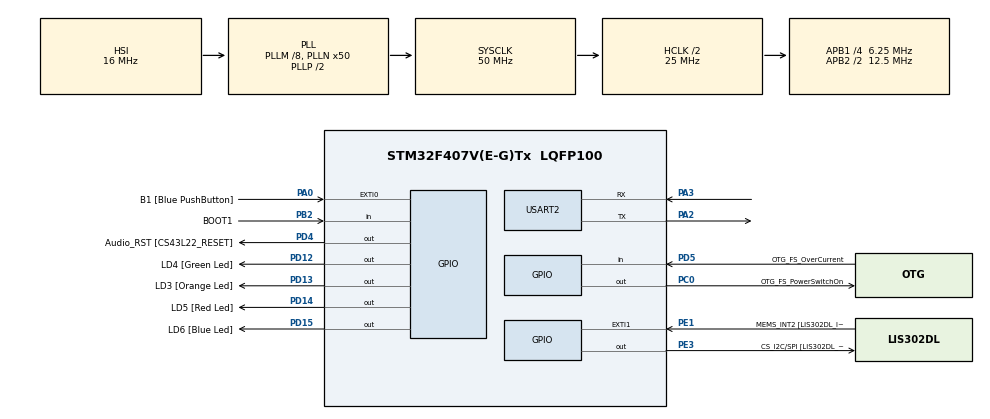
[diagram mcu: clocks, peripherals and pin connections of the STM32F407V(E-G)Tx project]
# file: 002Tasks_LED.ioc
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Mcu.Family=STM32F4
Mcu.Name=STM32F407V(E-G)Tx
Mcu.Package=LQFP100
NVIC.PriorityGroup=NVIC_PRIORITYGROUP_4
NVIC.TIM6_DAC_IRQn=true\:0\:0\:false\:false\:true\:false\:true\:true
NVIC.TimeBase=TIM6_DAC_IRQn
NVIC.TimeBaseIP=TIM6
NVIC.USART2_IRQn=true\:6\:0\:true\:false\:true\:true\:true\:true
PA0-WKUP.GPIO_Label=B1 [Blue PushButton]
PA0-WKUP.GPIO_ModeDefaultEXTI=GPIO_MODE_IT_FALLING
PA0-WKUP.Signal=GPXTI0
PA10.GPIO_Label=OTG_FS_ID
PA10.GPIO_Mode=GPIO_MODE_AF_PP
PA10.GPIO_PuPd=GPIO_NOPULL
PA10.GPIO_Speed=GPIO_SPEED_FREQ_LOW
PA10.Signal=USB_OTG_FS_ID
PA11.GPIO_Label=OTG_FS_DM
PA11.GPIO_Mode=GPIO_MODE_AF_PP
PA11.GPIO_PuPd=GPIO_NOPULL
PA11.GPIO_Speed=GPIO_SPEED_FREQ_LOW
PA11.Signal=USB_OTG_FS_DM
PA12.GPIO_Label=OTG_FS_DP
PA12.GPIO_Mode=GPIO_MODE_AF_PP
PA12.GPIO_PuPd=GPIO_NOPULL
PA12.GPIO_Speed=GPIO_SPEED_FREQ_LOW
PA12.Signal=USB_OTG_FS_DP
PA13.GPIO_Label=SWDIO
PA13.Signal=SYS_JTMS-SWDIO
PA14.GPIO_Label=SWCLK
PA14.Signal=SYS_JTCK-SWCLK
PA2.Mode=Asynchronous
PA2.Signal=USART2_TX
PA3.Mode=Asynchronous
PA3.Signal=USART2_RX
PA4.GPIO_Label=I2S3_WS [CS43L22_LRCK]
PA4.GPIO_Mode=GPIO_MODE_AF_PP
PA4.GPIO_PuPd=GPIO_NOPULL
PA4.GPIO_Speed=GPIO_SPEED_FREQ_LOW
PA4.Signal=I2S3_WS
PA5.GPIO_Label=SPI1_SCK [LIS302DL_SCL/SPC]
PA5.GPIO_Mode=GPIO_MODE_AF_PP
PA5.GPIO_PuPd=GPIO_NOPULL
PA5.GPIO_Speed=GPIO_SPEED_FREQ_LOW
PA5.Signal=SPI1_SCK
PA6.GPIO_Label=SPI1_MISO [LIS302DL_SDO]
PA6.GPIO_Mode=GPIO_MODE_AF_PP
PA6.GPIO_PuPd=GPIO_NOPULL
PA6.GPIO_Speed=GPIO_SPEED_FREQ_LOW
PA6.Signal=SPI1_MISO
PA7.GPIO_Label=SPI1_MOSI [LIS302DL_SDA/SDI/SDO]
PA7.GPIO_Mode=GPIO_MODE_AF_PP
PA7.GPIO_PuPd=GPIO_NOPULL
PA7.GPIO_Speed=GPIO_SPEED_FREQ_LOW
PA7.Signal=SPI1_MOSI
PA9.GPIO_Label=VBUS_FS
PA9.GPIO_Mode=GPIO_MODE_INPUT
PA9.GPIO_PuPd=GPIO_NOPULL
PA9.Signal=USB_OTG_FS_VBUS
PB10.GPIO_Label=CLK_IN [MP45DT02_CLK]
PB10.GPIO_Mode=GPIO_MODE_AF_PP
PB10.GPIO_PuPd=GPIO_NOPULL
PB10.GPIO_Speed=GPIO_SPEED_FREQ_LOW
PB10.Signal=I2S2_CK
PB2.GPIO_Label=BOOT1
PB2.GPIO_Mode=GPIO_MODE_INPUT
PB2.GPIO_PuPd=GPIO_NOPULL
PB2.Signal=GPIO_Input
PB3.GPIO_Label=SWO
PB3.Signal=SYS_JTDO-SWO
PB6.GPIO_Label=Audio_SCL [CS43L22_SCL]
PB6.GPIO_Mode=GPIO_MODE_AF_OD
PB6.GPIO_PuPd=GPIO_NOPULL
PB6.GPIO_Speed=GPIO_SPEED_FREQ_LOW
PB6.Signal=I2C1_SCL
PB9.GPIO_Label=Audio_SDA [CS43L22_SDA]
PB9.GPIO_Mode=GPIO_MODE_AF_OD
PB9.GPIO_PuPd=GPIO_NOPULL
PB9.GPIO_Speed=GPIO_SPEED_FREQ_LOW
PB9.Signal=I2C1_SDA
PC0.GPIO_Label=OTG_FS_PowerSwitchOn
PC0.GPIO_PuPd=GPIO_NOPULL
PC0.GPIO_Speed=GPIO_SPEED_FREQ_LOW
PC0.PinState=GPIO_PIN_SET
PC0.Signal=GPIO_Output
PC10.GPIO_Label=I2S3_SCK [CS43L22_SCLK]
PC10.GPIO_Mode=GPIO_MODE_AF_PP
PC10.GPIO_PuPd=GPIO_NOPULL
PC10.GPIO_Speed=GPIO_SPEED_FREQ_LOW
PC10.Signal=I2S3_CK
PC12.GPIO_Label=I2S3_SD [CS43L22_SDIN]
PC12.GPIO_Mode=GPIO_MODE_AF_PP
PC12.GPIO_PuPd=GPIO_NOPULL
PC12.GPIO_Speed=GPIO_SPEED_FREQ_LOW
PC12.Signal=I2S3_SD
PC14-OSC32_IN.GPIO_Label=PC14-OSC32_IN
PC14-OSC32_IN.Signal=RCC_OSC32_IN
PC15-OSC32_OUT.GPIO_Label=PC15-OSC32_OUT
PC15-OSC32_OUT.Signal=RCC_OSC32_OUT
PC3.GPIO_Label=PDM_OUT [MP45DT02_DOUT]
PC3.GPIO_Mode=GPIO_MODE_AF_PP
PC3.GPIO_PuPd=GPIO_NOPULL
PC3.GPIO_Speed=GPIO_SPEED_FREQ_LOW
PC3.Signal=I2S2_SD
PC7.GPIO_Label=I2S3_MCK [CS43L22_MCLK]
PC7.GPIO_Mode=GPIO_MODE_AF_PP
PC7.GPIO_PuPd=GPIO_NOPULL
PC7.GPIO_Speed=GPIO_SPEED_FREQ_LOW
PC7.Signal=I2S3_MCK
PD12.GPIO_Label=LD4 [Green Led]
PD12.GPIO_PuPd=GPIO_NOPULL
PD12.GPIO_Speed=GPIO_SPEED_FREQ_LOW
PD12.Signal=GPIO_Output
PD13.GPIO_Label=LD3 [Orange Led]
PD13.GPIO_PuPd=GPIO_NOPULL
PD13.GPIO_Speed=GPIO_SPEED_FREQ_LOW
PD13.Signal=GPIO_Output
PD14.GPIO_Label=LD5 [Red Led]
PD14.GPIO_PuPd=GPIO_NOPULL
PD14.GPIO_Speed=GPIO_SPEED_FREQ_LOW
PD14.Signal=GPIO_Output
PD15.GPIO_Label=LD6 [Blue Led]
PD15.GPIO_PuPd=GPIO_NOPULL
PD15.GPIO_Speed=GPIO_SPEED_FREQ_LOW
PD15.Signal=GPIO_Output
PD4.GPIO_Label=Audio_RST [CS43L22_RESET]
PD4.GPIO_PuPd=GPIO_NOPULL
PD4.GPIO_Speed=GPIO_SPEED_FREQ_LOW
PD4.Signal=GPIO_Output
PD5.GPIO_Label=OTG_FS_OverCurrent
PD5.GPIO_Mode=GPIO_MODE_INPUT
PD5.GPIO_PuPd=GPIO_NOPULL
PD5.Signal=GPIO_Input
PE1.GPIO_Label=MEMS_INT2 [LIS302DL_INT2]
PE1.GPIO_ModeDefaultEXTI=GPIO_MODE_EVT_RISING
PE1.GPIO_PuPd=GPIO_NOPULL
PE1.Signal=GPXTI1
PE3.GPIO_Label=CS_I2C/SPI [LIS302DL_CS_I2C/SPI]
PE3.GPIO_PuPd=GPIO_NOPULL
PE3.GPIO_Speed=GPIO_SPEED_FREQ_LOW
PE3.Signal=GPIO_Output
PH0-OSC_IN.GPIO_Label=PH0-OSC_IN
PH0-OSC_IN.Signal=RCC_OSC_IN
PH1-OSC_OUT.GPIO_Label=PH1-OSC_OUT
PH1-OSC_OUT.Signal=RCC_OSC_OUT
ProjectManager.HeapSize=0x200
ProjectManager.StackSize=0x400
ProjectManager.TargetToolchain=STM32CubeIDE
RCC.48MHZClocksFreq_Value=14285714.285714285
RCC.AHBCLKDivider=RCC_SYSCLK_DIV2
RCC.AHBFreq_Value=25000000
RCC.APB1CLKDivider=RCC_HCLK_DIV4
RCC.APB1Freq_Value=6250000
RCC.APB1TimFreq_Value=12500000
RCC.APB2CLKDivider=RCC_HCLK_DIV2
RCC.APB2Freq_Value=12500000
RCC.APB2TimFreq_Value=25000000
RCC.CortexFreq_Value=25000000
RCC.HCLKFreq_Value=25000000
RCC.HSE_VALUE=8000000
RCC.HSI_VALUE=16000000
RCC.LSE_VALUE=32768
RCC.PLLM=8
RCC.PLLN=50
RCC.PLLQ=7
RCC.SYSCLKFreq_VALUE=50000000
RCC.SYSCLKSource=RCC_SYSCLKSOURCE_PLLCLK
RCC.VCOOutputFreq_Value=100000000
RTC.HourFormat=RTC_HOURFORMAT_12
USART2.VirtualMode=VM_ASYNC
VP_RTC_VS_RTC_Activate.Mode=RTC_Enabled
VP_SYS_VS_tim6.Mode=TIM6
board=STM32F407G-DISC1

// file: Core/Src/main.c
/* USER CODE BEGIN Header */
/**
  ******************************************************************************
  * @file           : main.c
  * @brief          : Main program body
  ******************************************************************************
  * @attention
  *
  * Copyright (c) 2024 STMicroelectronics.
  * All rights reserved.
  *
  * This software is licensed under terms that can be found in the LICENSE file
  * in the root directory of this software component.
  * If no LICENSE file comes with this software, it is provided AS-IS.
  *
  ******************************************************************************
  */
/* USER CODE END Header */
#include "main.h"

/* USER CODE BEGIN Includes */
#include "FreeRTOS.h"
#include "task.h"
#include "queue.h"
#include "semphr.h"
#include "stdlib.h"
#include "string.h"
#include<stdio.h>
#include<stdint.h>
/* USER CODE END Includes */

UART_HandleTypeDef huart2;
RTC_HandleTypeDef hrtc;

/* USER CODE BEGIN PV */
#define DWT_CTRL ( *(volatile uint32_t*)0XE0001000 )

/* USER CODE END PV */

void SystemClock_Config(void);
static void MX_GPIO_Init(void);
static void MX_RTC_Init(void);
static void MX_USART2_UART_Init(void);
/* USER CODE BEGIN PFP */
void vHandlerTask(void* param);
void vPeriodicTask(void*param);

/* USER CODE END PFP */

/* USER CODE BEGIN 0 */
char usr_msg[250] = {0};
TaskHandle_t xTaskHandleH;
TaskHandle_t xTaskHandleP;
xSemaphoreHandle xCountingSemaphore;

#if 0
TaskHandle_t task1_handle;
TaskHandle_t task2_handle;
TaskHandle_t task3_handle;
#endif

#if 0
TaskHandle_t btntask_handle;
TaskHandle_t volatile nexttask_handle = NULL;
volatile BaseType_t status_button = 0;
#endif

//extern void SEGGER_UART_init(uint32_t);
#if 0
static void led_green_handler(void* parameters);
static void led_orange_handler(void* parameters);
static void led_red_handler(void* parameters);
#endif

void vApplicationIdleHook( void );

//static void button_handler(void* parameters);
//void button_int_handler();
//void switch_priority(void);

/* USER CODE END 0 */

int main(void)
{

  /* MCU Configuration--------------------------------------------------------*/

  /* Reset of all peripherals, Initializes the Flash interface and the Systick. */
  HAL_Init();

  /* Configure the system clock */
  SystemClock_Config();

  /* Initialize all configured peripherals */
  MX_GPIO_Init();
  MX_RTC_Init();
  MX_USART2_UART_Init();
  /* USER CODE BEGIN 2 */

   // SEGGER_UART_init(500000);

	DWT_CTRL |= (1 << 0);

	//SEGGER_SYSVIEW_Conf();

	sprintf(usr_msg, "Demo of usage of counting semaphore\r\n");
	HAL_UART_Transmit(&huart2, (uint8_t*)usr_msg, strlen(usr_msg), HAL_MAX_DELAY);

	xCountingSemaphore = xSemaphoreCreateCounting(10,0);

	if(xCountingSemaphore != NULL)
	{
		NVIC_SetPriority( EXTI15_10_IRQn, configLIBRARY_MAX_SYSCALL_INTERRUPT_PRIORITY );

		/* Enable the interrupt. */
		NVIC_EnableIRQ( EXTI15_10_IRQn );

		xTaskCreate(vPeriodicTask, "Periodic Task", 500, NULL, 3, NULL);

		xTaskCreate(vHandlerTask, "Handler Task", 500, NULL, 1, NULL);

		//start the scheduler
		vTaskStartScheduler();

	}

#if 0
	status = xTaskCreate(led_red_handler, "LED_Rtask", 200, NULL, 2,&task1_handle);
	configASSERT(status == pdPASS);

	nexttask_handle = task1_handle;

	status = xTaskCreate(led_green_handler, "LED_Gtask", 200, NULL, 3,&task2_handle);
	configASSERT(status == pdPASS);

	status = xTaskCreate(led_orange_handler, "LED_Otask", 200, NULL, 1,&task3_handle);
	configASSERT(status == pdPASS);
# endif

//===============================================================================================

#if 0

	status = xTaskCreate(button_handler, "LED_Button_task", 200, NULL, 4,&btntask_handle);
	configASSERT(status == pdPASS);
#endif

	//create software timers

  /* USER CODE END 2 */

  /* Infinite loop */
	while (1) {

	}
}

void SystemClock_Config(void)
{
  RCC_OscInitTypeDef RCC_OscInitStruct = {0};
  RCC_ClkInitTypeDef RCC_ClkInitStruct = {0};

  /** Configure the main internal regulator output voltage
  */
  __HAL_RCC_PWR_CLK_ENABLE();
  __HAL_PWR_VOLTAGESCALING_CONFIG(PWR_REGULATOR_VOLTAGE_SCALE1);

  /** Initializes the RCC Oscillators according to the specified parameters
  * in the RCC_OscInitTypeDef structure.
  */
  RCC_OscInitStruct.OscillatorType = RCC_OSCILLATORTYPE_HSI|RCC_OSCILLATORTYPE_LSI;
  RCC_OscInitStruct.HSIState = RCC_HSI_ON;
  RCC_OscInitStruct.HSICalibrationValue = RCC_HSICALIBRATION_DEFAULT;
  RCC_OscInitStruct.LSIState = RCC_LSI_ON;
  RCC_OscInitStruct.PLL.PLLState = RCC_PLL_ON;
  RCC_OscInitStruct.PLL.PLLSource = RCC_PLLSOURCE_HSI;
  RCC_OscInitStruct.PLL.PLLM = 8;
  RCC_OscInitStruct.PLL.PLLN = 50;
  RCC_OscInitStruct.PLL.PLLP = RCC_PLLP_DIV2;
  RCC_OscInitStruct.PLL.PLLQ = 7;
  if (HAL_RCC_OscConfig(&RCC_OscInitStruct) != HAL_OK)
  {
    Error_Handler();
  }

  /** Initializes the CPU, AHB and APB buses clocks
  */
  RCC_ClkInitStruct.ClockType = RCC_CLOCKTYPE_HCLK|RCC_CLOCKTYPE_SYSCLK
                              |RCC_CLOCKTYPE_PCLK1|RCC_CLOCKTYPE_PCLK2;
  RCC_ClkInitStruct.SYSCLKSource = RCC_SYSCLKSOURCE_PLLCLK;
  RCC_ClkInitStruct.AHBCLKDivider = RCC_SYSCLK_DIV2;
  RCC_ClkInitStruct.APB1CLKDivider = RCC_HCLK_DIV4;
  RCC_ClkInitStruct.APB2CLKDivider = RCC_HCLK_DIV2;

  if (HAL_RCC_ClockConfig(&RCC_ClkInitStruct, FLASH_LATENCY_0) != HAL_OK)
  {
    Error_Handler();
  }
}

static void MX_RTC_Init(void)
{

  /** Initialize RTC Only
  */
  hrtc.Instance = RTC;
  hrtc.Init.HourFormat = RTC_HOURFORMAT_12;
  hrtc.Init.AsynchPrediv = 127;
  hrtc.Init.SynchPrediv = 255;
  hrtc.Init.OutPut = RTC_OUTPUT_DISABLE;
  hrtc.Init.OutPutPolarity = RTC_OUTPUT_POLARITY_HIGH;
  hrtc.Init.OutPutType = RTC_OUTPUT_TYPE_OPENDRAIN;
  if (HAL_RTC_Init(&hrtc) != HAL_OK)
  {
    Error_Handler();
  }

}

static void MX_USART2_UART_Init(void)
{

  huart2.Instance = USART2;
  huart2.Init.BaudRate = 115200;
  huart2.Init.WordLength = UART_WORDLENGTH_8B;
  huart2.Init.StopBits = UART_STOPBITS_1;
  huart2.Init.Parity = UART_PARITY_NONE;
  huart2.Init.Mode = UART_MODE_TX_RX;
  huart2.Init.HwFlowCtl = UART_HWCONTROL_NONE;
  huart2.Init.OverSampling = UART_OVERSAMPLING_16;
  if (HAL_UART_Init(&huart2) != HAL_OK)
  {
    Error_Handler();
  }

}

static void MX_GPIO_Init(void)
{
  GPIO_InitTypeDef GPIO_InitStruct = {0};

  /* GPIO Ports Clock Enable */
  __HAL_RCC_GPIOE_CLK_ENABLE();
  __HAL_RCC_GPIOC_CLK_ENABLE();
  __HAL_RCC_GPIOH_CLK_ENABLE();
  __HAL_RCC_GPIOA_CLK_ENABLE();
  __HAL_RCC_GPIOB_CLK_ENABLE();
  __HAL_RCC_GPIOD_CLK_ENABLE();

  /*Configure GPIO pin Output Level */
  HAL_GPIO_WritePin(CS_I2C_SPI_GPIO_Port, CS_I2C_SPI_Pin, GPIO_PIN_RESET);

  /*Configure GPIO pin Output Level */
  HAL_GPIO_WritePin(OTG_FS_PowerSwitchOn_GPIO_Port, OTG_FS_PowerSwitchOn_Pin, GPIO_PIN_SET);

  /*Configure GPIO pin Output Level */
  HAL_GPIO_WritePin(GPIOD, LD4_Pin|LD3_Pin|LD5_Pin|LD6_Pin
                          |Audio_RST_Pin, GPIO_PIN_RESET);

  /*Configure GPIO pin : CS_I2C_SPI_Pin */
  GPIO_InitStruct.Pin = CS_I2C_SPI_Pin;
  GPIO_InitStruct.Mode = GPIO_MODE_OUTPUT_PP;
  GPIO_InitStruct.Pull = GPIO_NOPULL;
  GPIO_InitStruct.Speed = GPIO_SPEED_FREQ_LOW;
  HAL_GPIO_Init(CS_I2C_SPI_GPIO_Port, &GPIO_InitStruct);

  /*Configure GPIO pin : OTG_FS_PowerSwitchOn_Pin */
  GPIO_InitStruct.Pin = OTG_FS_PowerSwitchOn_Pin;
  GPIO_InitStruct.Mode = GPIO_MODE_OUTPUT_PP;
  GPIO_InitStruct.Pull = GPIO_NOPULL;
  GPIO_InitStruct.Speed = GPIO_SPEED_FREQ_LOW;
  HAL_GPIO_Init(OTG_FS_PowerSwitchOn_GPIO_Port, &GPIO_InitStruct);

  /*Configure GPIO pin : PDM_OUT_Pin */
  GPIO_InitStruct.Pin = PDM_OUT_Pin;
  GPIO_InitStruct.Mode = GPIO_MODE_AF_PP;
  GPIO_InitStruct.Pull = GPIO_NOPULL;
  GPIO_InitStruct.Speed = GPIO_SPEED_FREQ_LOW;
  GPIO_InitStruct.Alternate = GPIO_AF5_SPI2;
  HAL_GPIO_Init(PDM_OUT_GPIO_Port, &GPIO_InitStruct);

  /*Configure GPIO pin : B1_Pin */
  GPIO_InitStruct.Pin = B1_Pin;
  GPIO_InitStruct.Mode = GPIO_MODE_IT_FALLING;
  GPIO_InitStruct.Pull = GPIO_NOPULL;
  HAL_GPIO_Init(B1_GPIO_Port, &GPIO_InitStruct);

  /*Configure GPIO pin : I2S3_WS_Pin */
  GPIO_InitStruct.Pin = I2S3_WS_Pin;
  GPIO_InitStruct.Mode = GPIO_MODE_AF_PP;
  GPIO_InitStruct.Pull = GPIO_NOPULL;
  GPIO_InitStruct.Speed = GPIO_SPEED_FREQ_LOW;
  GPIO_InitStruct.Alternate = GPIO_AF6_SPI3;
  HAL_GPIO_Init(I2S3_WS_GPIO_Port, &GPIO_InitStruct);

  /*Configure GPIO pins : SPI1_SCK_Pin SPI1_MISO_Pin SPI1_MOSI_Pin */
  GPIO_InitStruct.Pin = SPI1_SCK_Pin|SPI1_MISO_Pin|SPI1_MOSI_Pin;
  GPIO_InitStruct.Mode = GPIO_MODE_AF_PP;
  GPIO_InitStruct.Pull = GPIO_NOPULL;
  GPIO_InitStruct.Speed = GPIO_SPEED_FREQ_LOW;
  GPIO_InitStruct.Alternate = GPIO_AF5_SPI1;
  HAL_GPIO_Init(GPIOA, &GPIO_InitStruct);

  /*Configure GPIO pin : BOOT1_Pin */
  GPIO_InitStruct.Pin = BOOT1_Pin;
  GPIO_InitStruct.Mode = GPIO_MODE_INPUT;
  GPIO_InitStruct.Pull = GPIO_NOPULL;
  HAL_GPIO_Init(BOOT1_GPIO_Port, &GPIO_InitStruct);

  /*Configure GPIO pin : CLK_IN_Pin */
  GPIO_InitStruct.Pin = CLK_IN_Pin;
  GPIO_InitStruct.Mode = GPIO_MODE_AF_PP;
  GPIO_InitStruct.Pull = GPIO_NOPULL;
  GPIO_InitStruct.Speed = GPIO_SPEED_FREQ_LOW;
  GPIO_InitStruct.Alternate = GPIO_AF5_SPI2;
  HAL_GPIO_Init(CLK_IN_GPIO_Port, &GPIO_InitStruct);

  /*Configure GPIO pins : LD4_Pin LD3_Pin LD5_Pin LD6_Pin
                           Audio_RST_Pin */
  GPIO_InitStruct.Pin = LD4_Pin|LD3_Pin|LD5_Pin|LD6_Pin
                          |Audio_RST_Pin;
  GPIO_InitStruct.Mode = GPIO_MODE_OUTPUT_PP;
  GPIO_InitStruct.Pull = GPIO_NOPULL;
  GPIO_InitStruct.Speed = GPIO_SPEED_FREQ_LOW;
  HAL_GPIO_Init(GPIOD, &GPIO_InitStruct);

  /*Configure GPIO pins : I2S3_MCK_Pin I2S3_SCK_Pin I2S3_SD_Pin */
  GPIO_InitStruct.Pin = I2S3_MCK_Pin|I2S3_SCK_Pin|I2S3_SD_Pin;
  GPIO_InitStruct.Mode = GPIO_MODE_AF_PP;
  GPIO_InitStruct.Pull = GPIO_NOPULL;
  GPIO_InitStruct.Speed = GPIO_SPEED_FREQ_LOW;
  GPIO_InitStruct.Alternate = GPIO_AF6_SPI3;
  HAL_GPIO_Init(GPIOC, &GPIO_InitStruct);

  /*Configure GPIO pin : VBUS_FS_Pin */
  GPIO_InitStruct.Pin = VBUS_FS_Pin;
  GPIO_InitStruct.Mode = GPIO_MODE_INPUT;
  GPIO_InitStruct.Pull = GPIO_NOPULL;
  HAL_GPIO_Init(VBUS_FS_GPIO_Port, &GPIO_InitStruct);

  /*Configure GPIO pins : OTG_FS_ID_Pin OTG_FS_DM_Pin OTG_FS_DP_Pin */
  GPIO_InitStruct.Pin = OTG_FS_ID_Pin|OTG_FS_DM_Pin|OTG_FS_DP_Pin;
  GPIO_InitStruct.Mode = GPIO_MODE_AF_PP;
  GPIO_InitStruct.Pull = GPIO_NOPULL;
  GPIO_InitStruct.Speed = GPIO_SPEED_FREQ_LOW;
  GPIO_InitStruct.Alternate = GPIO_AF10_OTG_FS;
  HAL_GPIO_Init(GPIOA, &GPIO_InitStruct);

  /*Configure GPIO pin : OTG_FS_OverCurrent_Pin */
  GPIO_InitStruct.Pin = OTG_FS_OverCurrent_Pin;
  GPIO_InitStruct.Mode = GPIO_MODE_INPUT;
  GPIO_InitStruct.Pull = GPIO_NOPULL;
  HAL_GPIO_Init(OTG_FS_OverCurrent_GPIO_Port, &GPIO_InitStruct);

  /*Configure GPIO pins : Audio_SCL_Pin Audio_SDA_Pin */
  GPIO_InitStruct.Pin = Audio_SCL_Pin|Audio_SDA_Pin;
  GPIO_InitStruct.Mode = GPIO_MODE_AF_OD;
  GPIO_InitStruct.Pull = GPIO_NOPULL;
  GPIO_InitStruct.Speed = GPIO_SPEED_FREQ_LOW;
  GPIO_InitStruct.Alternate = GPIO_AF4_I2C1;
  HAL_GPIO_Init(GPIOB, &GPIO_InitStruct);

  /*Configure GPIO pin : MEMS_INT2_Pin */
  GPIO_InitStruct.Pin = MEMS_INT2_Pin;
  GPIO_InitStruct.Mode = GPIO_MODE_EVT_RISING;
  GPIO_InitStruct.Pull = GPIO_NOPULL;
  HAL_GPIO_Init(MEMS_INT2_GPIO_Port, &GPIO_InitStruct);

}

/* USER CODE BEGIN 4 */
void vPeriodicTask(void* param)
{
	while(1)
	{
		vTaskDelay(pdMS_TO_TICKS(500));

		sprintf(usr_msg, "Periodic task - Pending the interrupt.\r\n" );
		HAL_UART_Transmit(&huart2, (uint8_t*)usr_msg, strlen(usr_msg), HAL_MAX_DELAY);

		//pend the interrupt
		NVIC_SetPendingIRQ(EXTI15_10_IRQn);

		//does the interrupt trigger immediately or does the task follow through
		//to completion?

		sprintf(usr_msg, "Periodic task - Resuming.\r\n" );
		HAL_UART_Transmit(&huart2, (uint8_t*)usr_msg, strlen(usr_msg), HAL_MAX_DELAY);
	}

}

void vHandlerTask(void* param)
{
	while(1)
	{
		xSemaphoreTake(xCountingSemaphore, portMAX_DELAY);

		sprintf(usr_msg, "Handler task - Processing event.\r\n");
		HAL_UART_Transmit(&huart2, (uint8_t*)usr_msg, strlen(usr_msg), HAL_MAX_DELAY);
	}

}

void EXTI15_10_IRQHandler(void)
{
	BaseType_t  xHigherPriorityTaskWoken = pdFALSE;

	sprintf(usr_msg,"==>Button_Handler\r\n");
	HAL_UART_Transmit(&huart2, (uint8_t*)usr_msg, strlen(usr_msg), HAL_MAX_DELAY);

	xSemaphoreGiveFromISR(xCountingSemaphore, &xHigherPriorityTaskWoken);
	xSemaphoreGiveFromISR(xCountingSemaphore, &xHigherPriorityTaskWoken);
	xSemaphoreGiveFromISR(xCountingSemaphore, &xHigherPriorityTaskWoken);
	xSemaphoreGiveFromISR(xCountingSemaphore, &xHigherPriorityTaskWoken);
	xSemaphoreGiveFromISR(xCountingSemaphore, &xHigherPriorityTaskWoken);

	portEND_SWITCHING_ISR( xHigherPriorityTaskWoken );

	__NVIC_ClearPendingIRQ(EXTI15_10_IRQn);
}
#if 0
void button_int_handler()
{

	BaseType_t HigherPriTaskWoken = pdFALSE;

	traceISR_ENTER();
	xTaskNotifyFromISR(nexttask_handle, 0, eNoAction, &HigherPriTaskWoken);
	portYIELD_FROM_ISR(HigherPriTaskWoken);
	traceISR_EXIT();

	traceISR_ENTER();
	status_button = 1;
	traceISR_EXIT();
}

static void led_green_handler(void* parameters)
{

	//BaseType_t status;
	//TickType_t last_wakeup_time = xTaskGetTickCount();
	while(1)
	{
		//SEGGER_SYSVIEW_PrintfTarget("Toggling Green LED");
		//HAL_GPIO_TogglePin(GPIOD, LED_GREEN_PIN);
		//HAL_Delay(1000);
		vTaskDelay(pdMS_TO_TICKS(1000));

		status = xTaskNotifyWait(0,0,NULL, pdMS_TO_TICKS(1000));
		if(status == pdTRUE)
		{
			//vTaskSuspendAll();
			portENTER_CRITICAL();

			nexttask_handle = task2_handle;
			//xTaskResumeAll();
			HAL_GPIO_WritePin(GPIOD, LED_GREEN_PIN, GPIO_PIN_SET);
			SEGGER_SYSVIEW_PrintfTarget("Suspend Green Task");
			portEXIT_CRITICAL();

			//vTaskDelete(NULL);
			vTaskSuspend(NULL);
		}
		//vTaskDelayUntil(&last_wakeup_time, pdMS_TO_TICKS(1000));
	}

	while (1)
	{
		HAL_GPIO_TogglePin(GPIOD, LED_GREEN_PIN);
		HAL_Delay(100);
	//	switch_priority();

	}

}

static void led_orange_handler(void* parameters)
{
	//BaseType_t status = 0;
	//TickType_t last_wakeup_time = xTaskGetTickCount();

	while (1)
	{
		//SEGGER_SYSVIEW_PrintfTarget("Toggling Orange LED");
		//HAL_GPIO_TogglePin(GPIOD, LED_ORANGE_PIN);
		//HAL_Delay(800);
		vTaskDelay(pdMS_TO_TICKS(800));
		//vTaskDelayUntil(&last_wakeup_time,pdMS_TO_TICKS(800));

		status = xTaskNotifyWait(0, 0, NULL, pdMS_TO_TICKS(800));
		if (status == pdTRUE)
		{
			//vTaskSuspendAll();
			portENTER_CRITICAL();
			nexttask_handle = task3_handle;
			//xTaskResumeAll();
			HAL_GPIO_WritePin(GPIOD, LED_ORANGE_PIN, GPIO_PIN_SET);
			SEGGER_SYSVIEW_PrintfTarget("Suspend Orange Task");
			portEXIT_CRITICAL();
			//vTaskDelete(NULL);
			vTaskSuspend(NULL);

		}

	}
}

static void led_red_handler(void* parameters)
{

	//BaseType_t status = 0;
	//TickType_t last_wakeup_time = xTaskGetTickCount();

	while(1)
	{
	//SEGGER_SYSVIEW_PrintfTarget("Toggling Red LED");
	//HAL_GPIO_TogglePin(GPIOD, LED_RED_PIN);
	//HAL_Delay(400);
	vTaskDelay(pdMS_TO_TICKS(400));
	//vTaskDelayUntil(&last_wakeup_time, pdMS_TO_TICKS(400));

	status = xTaskNotifyWait(0,0,NULL, pdMS_TO_TICKS(400));
	if(status == pdTRUE)
	{
		//vTaskSuspendAll();
		portENTER_CRITICAL();

		nexttask_handle = NULL;
		//xTaskResumeAll();
		HAL_GPIO_WritePin(GPIOD, LED_RED_PIN, GPIO_PIN_SET);
		//vTaskDelete(btntask_handle);
		SEGGER_SYSVIEW_PrintfTarget("Suspend Red Task");
		portEXIT_CRITICAL();

		//vTaskDelete(NULL);
		vTaskSuspend(NULL);

	}

	while(1)
	{
		HAL_GPIO_TogglePin(GPIOD, LED_RED_PIN);
		HAL_Delay(100);
		switch_priority();

	}

}
}
#endif

#if 0
static void button_handler(void* parameters)
{
	uint8_t count= 0;
	uint8_t btnread =0;
	uint8_t prevread = 0;

	while(1)
	{
		btnread = HAL_GPIO_ReadPin(GPIOA, GPIO_PIN_0);

		if(btnread)
		{
			if(!prevread)
			{
				count++;
				if(count>3 )
				{
					count = 0;
					SEGGER_SYSVIEW_PrintfTarget("Resume All Tasks");
					vTaskResume(task1_handle);
					vTaskResume(task2_handle);
					vTaskResume(task3_handle);

					nexttask_handle = task1_handle;

				}
				else
				{
					xTaskNotify(nexttask_handle, 0, eNoAction);

				}
			}
		}
		prevread = btnread;
		vTaskDelay(pdMS_TO_TICKS(10));
	}
}
#endif

#if 0
void switch_priority(void)
{
	UBaseType_t p1,p2;
	xTaskHandle t1,t2,curr;

	BaseType_t switch_prio = 0;

	portENTER_CRITICAL();
	if(status_button)
	{
		status_button = 0;
		switch_prio = 1;
	}
	portEXIT_CRITICAL();

	if(switch_prio)
	{
		t1 = xTaskGetHandle("LED_Rtask");
		t2 = xTaskGetHandle("LED_Gtask");

		p1 = uxTaskPriorityGet(t1);
		p2 = uxTaskPriorityGet(t2);

		curr = xTaskGetCurrentTaskHandle();

		if(curr == t1)
		{
			vTaskPrioritySet(t1, p2);
			vTaskPrioritySet(t2, p1);
		}

		else
		{
			vTaskPrioritySet(t1, p2);
			vTaskPrioritySet(t2, p1);
		}
	}
}
#endif

/* USER CODE END 4 */

void HAL_TIM_PeriodElapsedCallback(TIM_HandleTypeDef *htim)
{
  if (htim->Instance == TIM6) {
    HAL_IncTick();
  }
}

void Error_Handler(void)
{
  __disable_irq();
  while (1)
  {
  }
}
